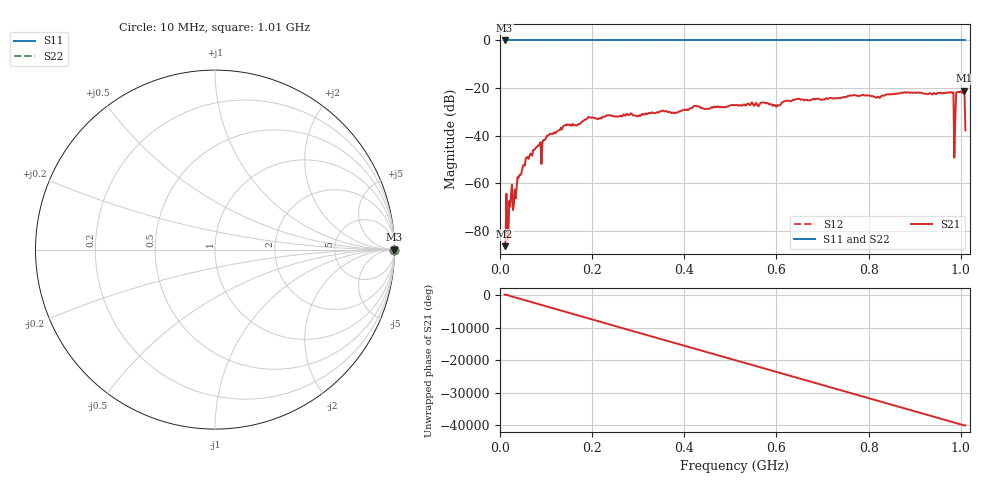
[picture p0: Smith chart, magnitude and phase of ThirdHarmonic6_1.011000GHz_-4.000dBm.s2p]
! 8/16/2025 8:19:11 AM
! C:\ANRITSUVNA\TEMP\TEMP.S2P
! CHANNEL.1
! TR.MEASUREMENT
! RAW.DATA
! RF.CORRECTION.OFF
! AVERAGING.OFF
! IF.BANDWIDTH: 5KHZ
! SWEEPTYPE:  FREQ.SWEEP(Linear)
! Reference Plane Port Info
! PORT:  PORT1  PORT2
! DISTANCE:  0  m  0  m
! TIME:  0  s  0  s
! PHASE.OFFSET:  0  deg.  0  deg.
! LOSS:  0  dB  0  dB
! REF.LOSS:  0  dB  0  dB
! REF.FREQ:  0  Hz  0  Hz
! Power Info
! POWER:  -20  dBm  -20  dBm
! EFF.POWER:  -20  dBm  -20  dBm
! SOURCE.ATTEN:  0  dB  0  dB
! TEST.ATTEN:  0  dB  0  dB
# GHZ S RI R 50.0
! FREQ.GHZ  S11RE  S11IM  S21RE  S21IM  S12RE  S12IM  S22RE  S22IM
!; PortSelection: Port_12
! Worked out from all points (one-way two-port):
!   501 points, 10 MHz to 1.01 GHz, reference 50 ohm
!   highest |S21| = -21.18 dB at 1.008 GHz (marker M1); lowest = -86.5 dB at 10 MHz (marker M2)
!   lowest |S11| = 0.0 dB at 10 MHz (marker M3)
!   |S11| at or under -10 dB: nowhere
!   |S22| runs from 0.0 to 0.0 dB; largest |S21 - S12| = 1.1
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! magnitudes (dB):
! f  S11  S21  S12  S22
! 10 MHz  0.0  -86.5  0.0  0.0
! 14 MHz  0.0  -64.5  0.0  0.0
! 24 MHz  0.0  -64.3  0.0  0.0
! 32 MHz  0.0  -62.7  0.0  0.0
! 40 MHz  0.0  -57.9  0.0  0.0
! 60 MHz  0.0  -49.1  0.0  0.0
! 84 MHz  0.0  -44.3  0.0  0.0
! 94 MHz  0.0  -41.9  0.0  0.0
! 106 MHz  0.0  -39.8  0.0  0.0
! 178 MHz  0.0  -34.2  0.0  0.0
! 344 MHz  0.0  -30.4  0.0  0.0
! 510 MHz  0.0  -27.2  0.0  0.0
! 678 MHz  0.0  -24.8  0.0  0.0
! 844 MHz  0.0  -22.7  0.0  0.0
! 980 MHz  0.0  -21.8  0.0  0.0
! 982 MHz  0.0  -22.1  0.0  0.0
! 986 MHz  0.0  -49.3  0.0  0.0
! 990 MHz  0.0  -21.9  0.0  0.0
! 994 MHz  0.0  -21.6  0.0  0.0
! 1.004 GHz  0.0  -22.2  0.0  0.0
! 1.008 GHz  0.0  -21.2  0.0  0.0
! 1.01 GHz  0.0  -37.8  0.0  0.0
